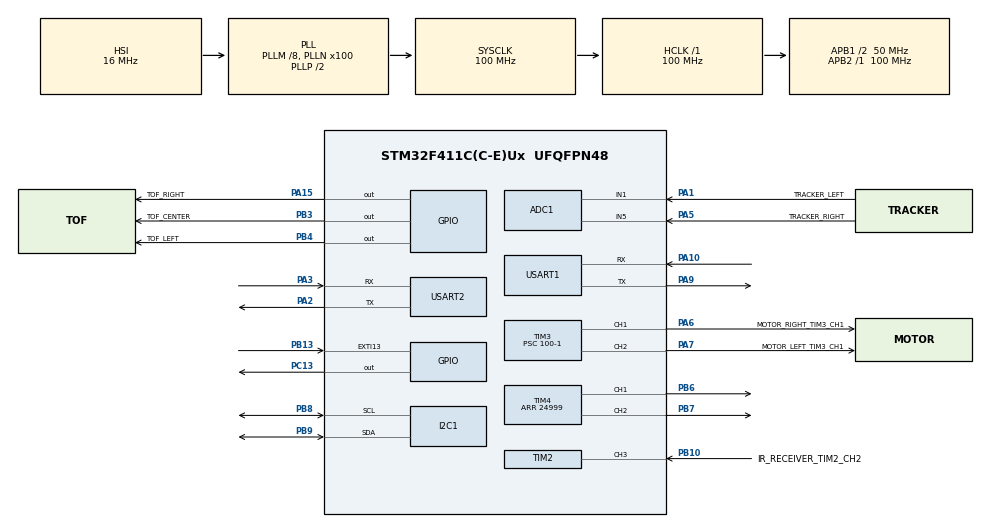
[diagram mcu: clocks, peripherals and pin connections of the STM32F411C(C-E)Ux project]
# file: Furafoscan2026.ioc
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ADC1.Channel-21\#ChannelRegularConversion=ADC_CHANNEL_5
ADC1.Channel-22\#ChannelRegularConversion=ADC_CHANNEL_1
ADC1.ContinuousConvMode=ENABLE
ADC1.DMAContinuousRequests=ENABLE
ADC1.NbrOfConversion=2
ADC1.NbrOfConversionFlag=1
ADC1.Rank-21\#ChannelRegularConversion=1
ADC1.Rank-22\#ChannelRegularConversion=2
ADC1.SamplingTime-21\#ChannelRegularConversion=ADC_SAMPLETIME_112CYCLES
ADC1.SamplingTime-22\#ChannelRegularConversion=ADC_SAMPLETIME_112CYCLES
ADC1.master=1
Dma.ADC1.0.Direction=DMA_PERIPH_TO_MEMORY
Dma.ADC1.0.FIFOMode=DMA_FIFOMODE_DISABLE
Dma.ADC1.0.Instance=DMA2_Stream0
Dma.ADC1.0.MemDataAlignment=DMA_MDATAALIGN_HALFWORD
Dma.ADC1.0.MemInc=DMA_MINC_ENABLE
Dma.ADC1.0.Mode=DMA_CIRCULAR
Dma.ADC1.0.PeriphDataAlignment=DMA_PDATAALIGN_HALFWORD
Dma.ADC1.0.PeriphInc=DMA_PINC_DISABLE
Dma.ADC1.0.Priority=DMA_PRIORITY_LOW
Dma.Request0=ADC1
I2C1.I2C_Mode=I2C_Fast
Mcu.Family=STM32F4
Mcu.Name=STM32F411C(C-E)Ux
Mcu.Package=UFQFPN48
NVIC.DMA2_Stream0_IRQn=true\:0\:0\:false\:false\:true\:false\:true\:true
NVIC.EXTI15_10_IRQn=true\:0\:0\:false\:false\:true\:true\:true\:true
NVIC.PriorityGroup=NVIC_PRIORITYGROUP_4
NVIC.TIM2_IRQn=true\:0\:0\:false\:false\:true\:true\:true\:true
NVIC.USART1_IRQn=true\:0\:0\:false\:false\:true\:true\:true\:true
NVIC.USART2_IRQn=true\:0\:0\:false\:false\:true\:true\:true\:true
PA1.GPIO_Label=TRACKER_LEFT
PA1.Signal=ADCx_IN1
PA10.Mode=Asynchronous
PA10.Signal=USART1_RX
PA13.Mode=Serial_Wire
PA13.Signal=SYS_JTMS-SWDIO
PA14.Mode=Serial_Wire
PA14.Signal=SYS_JTCK-SWCLK
PA15.GPIO_Label=TOF_RIGHT
PA15.Signal=GPIO_Output
PA2.Mode=Asynchronous
PA2.Signal=USART2_TX
PA3.Mode=Asynchronous
PA3.Signal=USART2_RX
PA5.GPIO_Label=TRACKER_RIGHT
PA5.Signal=ADCx_IN5
PA6.GPIO_Label=MOTOR_RIGHT_TIM3_CH1
PA6.Signal=S_TIM3_CH1
PA7.GPIO_Label=MOTOR_LEFT_TIM3_CH1
PA7.Signal=S_TIM3_CH2
PA9.Mode=Asynchronous
PA9.Signal=USART1_TX
PB10.GPIO_Label=IR_RECEIVER_TIM2_CH2
PB10.Signal=S_TIM2_CH3
PB13.GPIO_ModeDefaultEXTI=GPIO_MODE_IT_RISING_FALLING
PB13.GPIO_PuPd=GPIO_PULLUP
PB13.Signal=GPXTI13
PB3.GPIO_Label=TOF_CENTER
PB3.Signal=GPIO_Output
PB4.GPIO_Label=TOF_LEFT
PB4.Signal=GPIO_Output
PB6.Signal=S_TIM4_CH1
PB7.Signal=S_TIM4_CH2
PB8.Mode=I2C
PB8.Signal=I2C1_SCL
PB9.Mode=I2C
PB9.Signal=I2C1_SDA
PC13-ANTI_TAMP.Signal=GPIO_Output
PH0\ -\ OSC_IN.Mode=HSE-External-Oscillator
PH0\ -\ OSC_IN.Signal=RCC_OSC_IN
PH1\ -\ OSC_OUT.Mode=HSE-External-Oscillator
PH1\ -\ OSC_OUT.Signal=RCC_OSC_OUT
ProjectManager.HeapSize=0x200
ProjectManager.StackSize=0x400
ProjectManager.TargetToolchain=STM32CubeIDE
RCC.48MHZClocksFreq_Value=50000000
RCC.AHBFreq_Value=100000000
RCC.APB1CLKDivider=RCC_HCLK_DIV2
RCC.APB1Freq_Value=50000000
RCC.APB1TimFreq_Value=100000000
RCC.APB2Freq_Value=100000000
RCC.APB2TimFreq_Value=100000000
RCC.CortexFreq_Value=100000000
RCC.HCLKFreq_Value=100000000
RCC.HSE_VALUE=25000000
RCC.HSI_VALUE=16000000
RCC.LSE_VALUE=32768
RCC.PLLM=8
RCC.PLLN=100
RCC.SYSCLKFreq_VALUE=100000000
RCC.SYSCLKSource=RCC_SYSCLKSOURCE_PLLCLK
RCC.VCOOutputFreq_Value=200000000
SH.ADCx_IN1.0=ADC1_IN1,IN1
SH.ADCx_IN5.0=ADC1_IN5,IN5
SH.S_TIM2_CH3.0=TIM2_CH3,Input_Capture3_from_TI3
SH.S_TIM3_CH1.0=TIM3_CH1,PWM Generation1 CH1
SH.S_TIM3_CH2.0=TIM3_CH2,PWM Generation2 CH2
SH.S_TIM4_CH1.0=TIM4_CH1,PWM Generation1 CH1
SH.S_TIM4_CH2.0=TIM4_CH2,PWM Generation2 CH2
TIM2.Channel-Input_Capture3_from_TI3=TIM_CHANNEL_3
TIM2.ICFilter_CH3=4
TIM2.ICPolarity_CH3=TIM_INPUTCHANNELPOLARITY_BOTHEDGE
TIM2.Period=0xffffffff-1
TIM2.Prescaler=99
TIM3.AutoReloadPreload=TIM_AUTORELOAD_PRELOAD_ENABLE
TIM3.Channel-PWM\ Generation1\ CH1=TIM_CHANNEL_1
TIM3.Channel-PWM\ Generation2\ CH2=TIM_CHANNEL_2
TIM3.Period=8000-1
TIM3.Prescaler=100-1
TIM4.AutoReloadPreload=TIM_AUTORELOAD_PRELOAD_ENABLE
TIM4.Channel-PWM\ Generation1\ CH1=TIM_CHANNEL_1
TIM4.Channel-PWM\ Generation2\ CH2=TIM_CHANNEL_2
TIM4.Period=24999
USART1.VirtualMode=VM_ASYNC
USART2.VirtualMode=VM_ASYNC
VP_TIM11_VS_ClockSourceINT.Mode=Enable_Timer
VP_TIM2_VS_ClockSourceINT.Mode=Internal
board=custom

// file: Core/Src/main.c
/* USER CODE BEGIN Header */
/**
  ******************************************************************************
  * @file           : main.c
  * @brief          : Main program body
  ******************************************************************************
  * @attention
  *
  * Copyright (c) 2025 STMicroelectronics.
  * All rights reserved.
  *
  * This software is licensed under terms that can be found in the LICENSE file
  * in the root directory of this software component.
  * If no LICENSE file comes with this software, it is provided AS-IS.
  *
  ******************************************************************************
  */
/* USER CODE END Header */
#include "main.h"

/* USER CODE BEGIN Includes */
#include <maincpp.hpp> // Incluir la clase puente cpp
#include <SoloATof.hpp>
#include <SoloBGyro.hpp>
#include <VL53L4CD_api.h>
/* USER CODE END Includes */

ADC_HandleTypeDef hadc1;
DMA_HandleTypeDef hdma_adc1;

I2C_HandleTypeDef hi2c1;

TIM_HandleTypeDef htim2;
TIM_HandleTypeDef htim3;
TIM_HandleTypeDef htim4;
TIM_HandleTypeDef htim11;

UART_HandleTypeDef huart1;
UART_HandleTypeDef huart2;

void SystemClock_Config(void);
static void MX_GPIO_Init(void);
static void MX_DMA_Init(void);
static void MX_USART1_UART_Init(void);
static void MX_TIM11_Init(void);
static void MX_ADC1_Init(void);
static void MX_USART2_UART_Init(void);
static void MX_TIM4_Init(void);
static void MX_TIM2_Init(void);
static void MX_I2C1_Init(void);
static void MX_TIM3_Init(void);

/* USER CODE BEGIN 0 */

//PA5 tracker left
//PA1 tracker right
//PA7 tracker distance left
//PA0 tracker distance right

#define NUM_ADC_CHANNELS    2

uint16_t adc_values[NUM_ADC_CHANNELS];

/* USER CODE END 0 */

int main(void)
{

  /* MCU Configuration--------------------------------------------------------*/

  /* Reset of all peripherals, Initializes the Flash interface and the Systick. */
  HAL_Init();

  /* Configure the system clock */
  SystemClock_Config();

  /* Initialize all configured peripherals */
  MX_GPIO_Init();
  MX_DMA_Init();
  MX_USART1_UART_Init();
  MX_TIM11_Init();
  MX_ADC1_Init();
  MX_USART2_UART_Init();
  MX_TIM4_Init();
  MX_TIM2_Init();
  MX_I2C1_Init();
  MX_TIM3_Init();
  /* USER CODE BEGIN 2 */
//  #define SOLO_MODE

  #ifdef SOLO_MODE
//    test_soloatof();
  	  test_solobgyro(&hi2c1);
  #else
    main_fura_mode(&htim2,
                   &htim3,
    		           &htim4,
                   &hadc1,
				           &hi2c1,
				           adc_values,
				           NUM_ADC_CHANNELS);
  #endif
  /* USER CODE END 2 */

  /* Infinite loop */
  while (1)
  {

  }
}

void SystemClock_Config(void)
{
  RCC_OscInitTypeDef RCC_OscInitStruct = {0};
  RCC_ClkInitTypeDef RCC_ClkInitStruct = {0};

  /** Configure the main internal regulator output voltage
  */
  __HAL_RCC_PWR_CLK_ENABLE();
  __HAL_PWR_VOLTAGESCALING_CONFIG(PWR_REGULATOR_VOLTAGE_SCALE1);

  /** Initializes the RCC Oscillators according to the specified parameters
  * in the RCC_OscInitTypeDef structure.
  */
  RCC_OscInitStruct.OscillatorType = RCC_OSCILLATORTYPE_HSI;
  RCC_OscInitStruct.HSIState = RCC_HSI_ON;
  RCC_OscInitStruct.HSICalibrationValue = RCC_HSICALIBRATION_DEFAULT;
  RCC_OscInitStruct.PLL.PLLState = RCC_PLL_ON;
  RCC_OscInitStruct.PLL.PLLSource = RCC_PLLSOURCE_HSI;
  RCC_OscInitStruct.PLL.PLLM = 8;
  RCC_OscInitStruct.PLL.PLLN = 100;
  RCC_OscInitStruct.PLL.PLLP = RCC_PLLP_DIV2;
  RCC_OscInitStruct.PLL.PLLQ = 4;
  if (HAL_RCC_OscConfig(&RCC_OscInitStruct) != HAL_OK)
  {
    Error_Handler();
  }

  /** Initializes the CPU, AHB and APB buses clocks
  */
  RCC_ClkInitStruct.ClockType = RCC_CLOCKTYPE_HCLK|RCC_CLOCKTYPE_SYSCLK
                              |RCC_CLOCKTYPE_PCLK1|RCC_CLOCKTYPE_PCLK2;
  RCC_ClkInitStruct.SYSCLKSource = RCC_SYSCLKSOURCE_PLLCLK;
  RCC_ClkInitStruct.AHBCLKDivider = RCC_SYSCLK_DIV1;
  RCC_ClkInitStruct.APB1CLKDivider = RCC_HCLK_DIV2;
  RCC_ClkInitStruct.APB2CLKDivider = RCC_HCLK_DIV1;

  if (HAL_RCC_ClockConfig(&RCC_ClkInitStruct, FLASH_LATENCY_3) != HAL_OK)
  {
    Error_Handler();
  }
}

static void MX_ADC1_Init(void)
{

  ADC_ChannelConfTypeDef sConfig = {0};

  /** Configure the global features of the ADC (Clock, Resolution, Data Alignment and number of conversion)
  */
  hadc1.Instance = ADC1;
  hadc1.Init.ClockPrescaler = ADC_CLOCK_SYNC_PCLK_DIV4;
  hadc1.Init.Resolution = ADC_RESOLUTION_12B;
  hadc1.Init.ScanConvMode = ENABLE;
  hadc1.Init.ContinuousConvMode = ENABLE;
  hadc1.Init.DiscontinuousConvMode = DISABLE;
  hadc1.Init.ExternalTrigConvEdge = ADC_EXTERNALTRIGCONVEDGE_NONE;
  hadc1.Init.ExternalTrigConv = ADC_SOFTWARE_START;
  hadc1.Init.DataAlign = ADC_DATAALIGN_RIGHT;
  hadc1.Init.NbrOfConversion = 2;
  hadc1.Init.DMAContinuousRequests = ENABLE;
  hadc1.Init.EOCSelection = ADC_EOC_SINGLE_CONV;
  if (HAL_ADC_Init(&hadc1) != HAL_OK)
  {
    Error_Handler();
  }

  /** Configure for the selected ADC regular channel its corresponding rank in the sequencer and its sample time.
  */
  sConfig.Channel = ADC_CHANNEL_5;
  sConfig.Rank = 1;
  sConfig.SamplingTime = ADC_SAMPLETIME_112CYCLES;
  if (HAL_ADC_ConfigChannel(&hadc1, &sConfig) != HAL_OK)
  {
    Error_Handler();
  }

  /** Configure for the selected ADC regular channel its corresponding rank in the sequencer and its sample time.
  */
  sConfig.Channel = ADC_CHANNEL_1;
  sConfig.Rank = 2;
  if (HAL_ADC_ConfigChannel(&hadc1, &sConfig) != HAL_OK)
  {
    Error_Handler();
  }

}

static void MX_I2C1_Init(void)
{

  hi2c1.Instance = I2C1;
  hi2c1.Init.ClockSpeed = 400000;
  hi2c1.Init.DutyCycle = I2C_DUTYCYCLE_2;
  hi2c1.Init.OwnAddress1 = 0;
  hi2c1.Init.AddressingMode = I2C_ADDRESSINGMODE_7BIT;
  hi2c1.Init.DualAddressMode = I2C_DUALADDRESS_DISABLE;
  hi2c1.Init.OwnAddress2 = 0;
  hi2c1.Init.GeneralCallMode = I2C_GENERALCALL_DISABLE;
  hi2c1.Init.NoStretchMode = I2C_NOSTRETCH_DISABLE;
  if (HAL_I2C_Init(&hi2c1) != HAL_OK)
  {
    Error_Handler();
  }

}

static void MX_TIM2_Init(void)
{

  TIM_ClockConfigTypeDef sClockSourceConfig = {0};
  TIM_MasterConfigTypeDef sMasterConfig = {0};
  TIM_IC_InitTypeDef sConfigIC = {0};

  htim2.Instance = TIM2;
  htim2.Init.Prescaler = 99;
  htim2.Init.CounterMode = TIM_COUNTERMODE_UP;
  htim2.Init.Period = 0xffffffff-1;
  htim2.Init.ClockDivision = TIM_CLOCKDIVISION_DIV1;
  htim2.Init.AutoReloadPreload = TIM_AUTORELOAD_PRELOAD_DISABLE;
  if (HAL_TIM_Base_Init(&htim2) != HAL_OK)
  {
    Error_Handler();
  }
  sClockSourceConfig.ClockSource = TIM_CLOCKSOURCE_INTERNAL;
  if (HAL_TIM_ConfigClockSource(&htim2, &sClockSourceConfig) != HAL_OK)
  {
    Error_Handler();
  }
  if (HAL_TIM_IC_Init(&htim2) != HAL_OK)
  {
    Error_Handler();
  }
  sMasterConfig.MasterOutputTrigger = TIM_TRGO_RESET;
  sMasterConfig.MasterSlaveMode = TIM_MASTERSLAVEMODE_DISABLE;
  if (HAL_TIMEx_MasterConfigSynchronization(&htim2, &sMasterConfig) != HAL_OK)
  {
    Error_Handler();
  }
  sConfigIC.ICPolarity = TIM_INPUTCHANNELPOLARITY_BOTHEDGE;
  sConfigIC.ICSelection = TIM_ICSELECTION_DIRECTTI;
  sConfigIC.ICPrescaler = TIM_ICPSC_DIV1;
  sConfigIC.ICFilter = 4;
  if (HAL_TIM_IC_ConfigChannel(&htim2, &sConfigIC, TIM_CHANNEL_3) != HAL_OK)
  {
    Error_Handler();
  }

}

static void MX_TIM3_Init(void)
{

  TIM_MasterConfigTypeDef sMasterConfig = {0};
  TIM_OC_InitTypeDef sConfigOC = {0};

  htim3.Instance = TIM3;
  htim3.Init.Prescaler = 100-1;
  htim3.Init.CounterMode = TIM_COUNTERMODE_UP;
  htim3.Init.Period = 8000-1;
  htim3.Init.ClockDivision = TIM_CLOCKDIVISION_DIV1;
  htim3.Init.AutoReloadPreload = TIM_AUTORELOAD_PRELOAD_ENABLE;
  if (HAL_TIM_PWM_Init(&htim3) != HAL_OK)
  {
    Error_Handler();
  }
  sMasterConfig.MasterOutputTrigger = TIM_TRGO_RESET;
  sMasterConfig.MasterSlaveMode = TIM_MASTERSLAVEMODE_DISABLE;
  if (HAL_TIMEx_MasterConfigSynchronization(&htim3, &sMasterConfig) != HAL_OK)
  {
    Error_Handler();
  }
  sConfigOC.OCMode = TIM_OCMODE_PWM1;
  sConfigOC.Pulse = 0;
  sConfigOC.OCPolarity = TIM_OCPOLARITY_HIGH;
  sConfigOC.OCFastMode = TIM_OCFAST_DISABLE;
  if (HAL_TIM_PWM_ConfigChannel(&htim3, &sConfigOC, TIM_CHANNEL_1) != HAL_OK)
  {
    Error_Handler();
  }
  if (HAL_TIM_PWM_ConfigChannel(&htim3, &sConfigOC, TIM_CHANNEL_2) != HAL_OK)
  {
    Error_Handler();
  }
  HAL_TIM_MspPostInit(&htim3);

}

static void MX_TIM4_Init(void)
{

  TIM_MasterConfigTypeDef sMasterConfig = {0};
  TIM_OC_InitTypeDef sConfigOC = {0};

  htim4.Instance = TIM4;
  htim4.Init.Prescaler = 0;
  htim4.Init.CounterMode = TIM_COUNTERMODE_UP;
  htim4.Init.Period = 24999;
  htim4.Init.ClockDivision = TIM_CLOCKDIVISION_DIV1;
  htim4.Init.AutoReloadPreload = TIM_AUTORELOAD_PRELOAD_ENABLE;
  if (HAL_TIM_PWM_Init(&htim4) != HAL_OK)
  {
    Error_Handler();
  }
  sMasterConfig.MasterOutputTrigger = TIM_TRGO_RESET;
  sMasterConfig.MasterSlaveMode = TIM_MASTERSLAVEMODE_DISABLE;
  if (HAL_TIMEx_MasterConfigSynchronization(&htim4, &sMasterConfig) != HAL_OK)
  {
    Error_Handler();
  }
  sConfigOC.OCMode = TIM_OCMODE_PWM1;
  sConfigOC.Pulse = 0;
  sConfigOC.OCPolarity = TIM_OCPOLARITY_HIGH;
  sConfigOC.OCFastMode = TIM_OCFAST_DISABLE;
  if (HAL_TIM_PWM_ConfigChannel(&htim4, &sConfigOC, TIM_CHANNEL_1) != HAL_OK)
  {
    Error_Handler();
  }
  if (HAL_TIM_PWM_ConfigChannel(&htim4, &sConfigOC, TIM_CHANNEL_2) != HAL_OK)
  {
    Error_Handler();
  }
  HAL_TIM_MspPostInit(&htim4);

}

static void MX_TIM11_Init(void)
{

  htim11.Instance = TIM11;
  htim11.Init.Prescaler = 0;
  htim11.Init.CounterMode = TIM_COUNTERMODE_UP;
  htim11.Init.Period = 65535;
  htim11.Init.ClockDivision = TIM_CLOCKDIVISION_DIV1;
  htim11.Init.AutoReloadPreload = TIM_AUTORELOAD_PRELOAD_DISABLE;
  if (HAL_TIM_Base_Init(&htim11) != HAL_OK)
  {
    Error_Handler();
  }

}

static void MX_USART1_UART_Init(void)
{

  huart1.Instance = USART1;
  huart1.Init.BaudRate = 115200;
  huart1.Init.WordLength = UART_WORDLENGTH_8B;
  huart1.Init.StopBits = UART_STOPBITS_1;
  huart1.Init.Parity = UART_PARITY_NONE;
  huart1.Init.Mode = UART_MODE_TX_RX;
  huart1.Init.HwFlowCtl = UART_HWCONTROL_NONE;
  huart1.Init.OverSampling = UART_OVERSAMPLING_16;
  if (HAL_UART_Init(&huart1) != HAL_OK)
  {
    Error_Handler();
  }

}

static void MX_USART2_UART_Init(void)
{

  huart2.Instance = USART2;
  huart2.Init.BaudRate = 115200;
  huart2.Init.WordLength = UART_WORDLENGTH_8B;
  huart2.Init.StopBits = UART_STOPBITS_1;
  huart2.Init.Parity = UART_PARITY_NONE;
  huart2.Init.Mode = UART_MODE_TX_RX;
  huart2.Init.HwFlowCtl = UART_HWCONTROL_NONE;
  huart2.Init.OverSampling = UART_OVERSAMPLING_16;
  if (HAL_UART_Init(&huart2) != HAL_OK)
  {
    Error_Handler();
  }

}

static void MX_DMA_Init(void)
{

  /* DMA controller clock enable */
  __HAL_RCC_DMA2_CLK_ENABLE();

  /* DMA interrupt init */
  /* DMA2_Stream0_IRQn interrupt configuration */
  HAL_NVIC_SetPriority(DMA2_Stream0_IRQn, 0, 0);
  HAL_NVIC_EnableIRQ(DMA2_Stream0_IRQn);

}

static void MX_GPIO_Init(void)
{
  GPIO_InitTypeDef GPIO_InitStruct = {0};

  /* GPIO Ports Clock Enable */
  __HAL_RCC_GPIOC_CLK_ENABLE();
  __HAL_RCC_GPIOH_CLK_ENABLE();
  __HAL_RCC_GPIOA_CLK_ENABLE();
  __HAL_RCC_GPIOB_CLK_ENABLE();

  /*Configure GPIO pin Output Level */
  HAL_GPIO_WritePin(GPIOC, GPIO_PIN_13, GPIO_PIN_RESET);

  /*Configure GPIO pin Output Level */
  HAL_GPIO_WritePin(TOF_RIGHT_GPIO_Port, TOF_RIGHT_Pin, GPIO_PIN_RESET);

  /*Configure GPIO pin Output Level */
  HAL_GPIO_WritePin(GPIOB, TOF_CENTER_Pin|TOF_LEFT_Pin, GPIO_PIN_RESET);

  /*Configure GPIO pin : PC13 */
  GPIO_InitStruct.Pin = GPIO_PIN_13;
  GPIO_InitStruct.Mode = GPIO_MODE_OUTPUT_PP;
  GPIO_InitStruct.Pull = GPIO_NOPULL;
  GPIO_InitStruct.Speed = GPIO_SPEED_FREQ_LOW;
  HAL_GPIO_Init(GPIOC, &GPIO_InitStruct);

  /*Configure GPIO pin : PB13 */
  GPIO_InitStruct.Pin = GPIO_PIN_13;
  GPIO_InitStruct.Mode = GPIO_MODE_IT_RISING_FALLING;
  GPIO_InitStruct.Pull = GPIO_PULLUP;
  HAL_GPIO_Init(GPIOB, &GPIO_InitStruct);

  /*Configure GPIO pin : TOF_RIGHT_Pin */
  GPIO_InitStruct.Pin = TOF_RIGHT_Pin;
  GPIO_InitStruct.Mode = GPIO_MODE_OUTPUT_PP;
  GPIO_InitStruct.Pull = GPIO_NOPULL;
  GPIO_InitStruct.Speed = GPIO_SPEED_FREQ_LOW;
  HAL_GPIO_Init(TOF_RIGHT_GPIO_Port, &GPIO_InitStruct);

  /*Configure GPIO pins : TOF_CENTER_Pin TOF_LEFT_Pin */
  GPIO_InitStruct.Pin = TOF_CENTER_Pin|TOF_LEFT_Pin;
  GPIO_InitStruct.Mode = GPIO_MODE_OUTPUT_PP;
  GPIO_InitStruct.Pull = GPIO_NOPULL;
  GPIO_InitStruct.Speed = GPIO_SPEED_FREQ_LOW;
  HAL_GPIO_Init(GPIOB, &GPIO_InitStruct);

  /* EXTI interrupt init*/
  HAL_NVIC_SetPriority(EXTI15_10_IRQn, 0, 0);
  HAL_NVIC_EnableIRQ(EXTI15_10_IRQn);

}

/* USER CODE BEGIN 4 */

void HAL_UART_RxCpltCallback(UART_HandleTypeDef *huart) {
  HAL_UART_RxCpltCallback_cpp(huart);
}

void HAL_GPIO_EXTI_Callback(uint16_t GPIO_Pin) {
  HAL_GPIO_EXTI_Callback_cpp(GPIO_Pin);
}

void HAL_TIM_IC_CaptureCallback(TIM_HandleTypeDef *htim) {
  HAL_TIM_IC_CaptureCallback_cpp(htim);
}
/* USER CODE END 4 */

void Error_Handler(void)
{
  __disable_irq();
  while (1)
  {
  }
}
